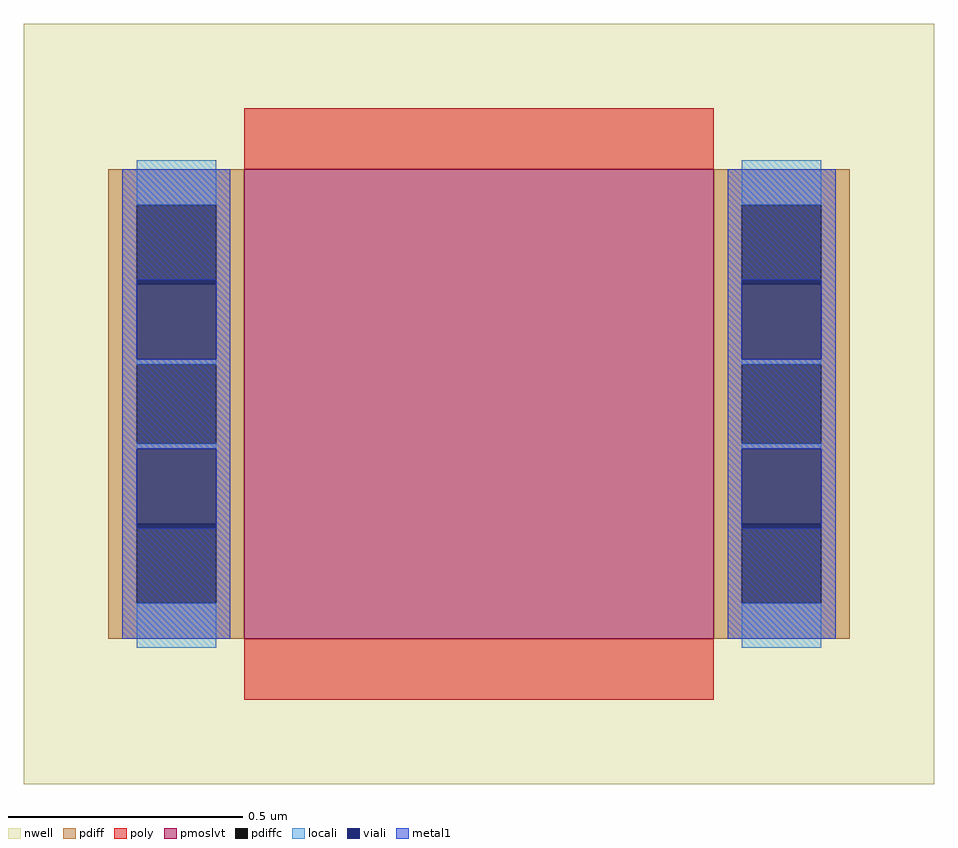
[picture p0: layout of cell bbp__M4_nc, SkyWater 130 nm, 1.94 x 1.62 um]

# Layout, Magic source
magic
tech sky130A
magscale 1 2
<< nwell >>
rect -194 -198 194 126
<< pmoslvt >>
rect -100 -136 100 64
<< pdiff >>
rect -158 49 -100 64
rect -158 15 -146 49
rect -112 15 -100 49
rect -158 -19 -100 15
rect -158 -53 -146 -19
rect -112 -53 -100 -19
rect -158 -87 -100 -53
rect -158 -121 -146 -87
rect -112 -121 -100 -87
rect -158 -136 -100 -121
rect 100 49 158 64
rect 100 15 112 49
rect 146 15 158 49
rect 100 -19 158 15
rect 100 -53 112 -19
rect 146 -53 158 -19
rect 100 -87 158 -53
rect 100 -121 112 -87
rect 146 -121 158 -87
rect 100 -136 158 -121
<< pdiffc >>
rect -146 15 -112 49
rect -146 -53 -112 -19
rect -146 -121 -112 -87
rect 112 15 146 49
rect 112 -53 146 -19
rect 112 -121 146 -87
<< poly >>
rect -100 64 100 90
rect -100 -162 100 -136
<< locali >>
rect -146 49 -112 68
rect -146 -19 -112 -17
rect -146 -55 -112 -53
rect -146 -140 -112 -121
rect 112 49 146 68
rect 112 -19 146 -17
rect 112 -55 146 -53
rect 112 -140 146 -121
<< viali >>
rect -146 15 -112 17
rect -146 -17 -112 15
rect -146 -87 -112 -55
rect -146 -89 -112 -87
rect 112 15 146 17
rect 112 -17 146 15
rect 112 -87 146 -55
rect 112 -89 146 -87
<< metal1 >>
rect -152 17 -106 64
rect -152 -17 -146 17
rect -112 -17 -106 17
rect -152 -55 -106 -17
rect -152 -89 -146 -55
rect -112 -89 -106 -55
rect -152 -136 -106 -89
rect 106 17 152 64
rect 106 -17 112 17
rect 146 -17 152 17
rect 106 -55 152 -17
rect 106 -89 112 -55
rect 146 -89 152 -55
rect 106 -136 152 -89
<< end >>
